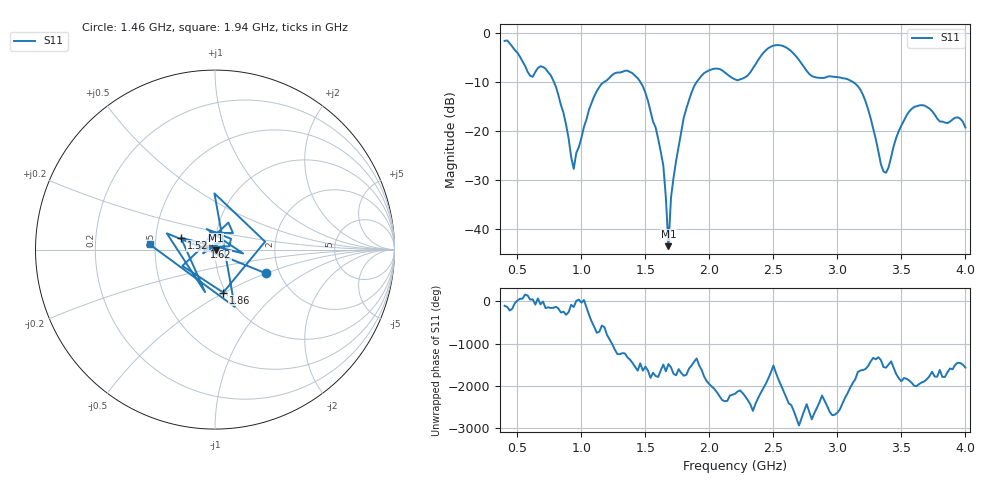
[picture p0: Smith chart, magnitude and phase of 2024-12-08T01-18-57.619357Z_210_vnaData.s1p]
!Created with skrf (http://scikit-rf.org).
# Hz S RI R 50.0
!freq ReS11 ImS11
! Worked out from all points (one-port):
!   181 points, 400 MHz to 4 GHz, reference 50 ohm
!   lowest |S11| = -43.6 dB at 1.68 GHz (marker M1), VSWR 1.01, Z = 50.5 - j0.448 ohm
!   |S11| at or under -10 dB: 783.9 MHz to 1.183 GHz (398.8 MHz wide, 40.6 % of centre); 1.459 GHz to 1.903 GHz (444 MHz wide, 26.4 % of centre); 3.116 GHz to end of sweep
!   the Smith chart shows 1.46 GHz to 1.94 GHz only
!   S11 on the Smith chart (normalised r, x): 1.46 GHz: 1.70, -0.50; 1.52 GHz: 0.68, +0.09; 1.62 GHz: 0.89, +0.02; 1.86 GHz: 0.97, -0.49; 1.94 GHz: 0.47, +0.03
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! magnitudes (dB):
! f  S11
! 400 MHz  -1.7
! 600 MHz  -8.8
! 720 MHz  -7.4
! 860 MHz  -16.4
! 940 MHz  -27.8
! 1.1 GHz  -13.0
! 1.3 GHz  -8.2
! 1.46 GHz  -10.1
! 1.52 GHz  -13.9
! 1.62 GHz  -24.3
! 1.64 GHz  -27.1
! 1.66 GHz  -33.7
! 1.68 GHz  -43.6
! 1.7 GHz  -33.7
! 1.76 GHz  -23.2
! 1.86 GHz  -12.3
! 1.94 GHz  -8.8
! 2.06 GHz  -7.4
! 2.2 GHz  -9.5
! 2.48 GHz  -2.9
! 2.66 GHz  -4.3
! 2.8 GHz  -8.9
! 3.1 GHz  -9.8
! 3.22 GHz  -14.0
! 3.36 GHz  -28.3
! 3.56 GHz  -16.1
! 3.68 GHz  -14.9
! 4 GHz  -19.4
